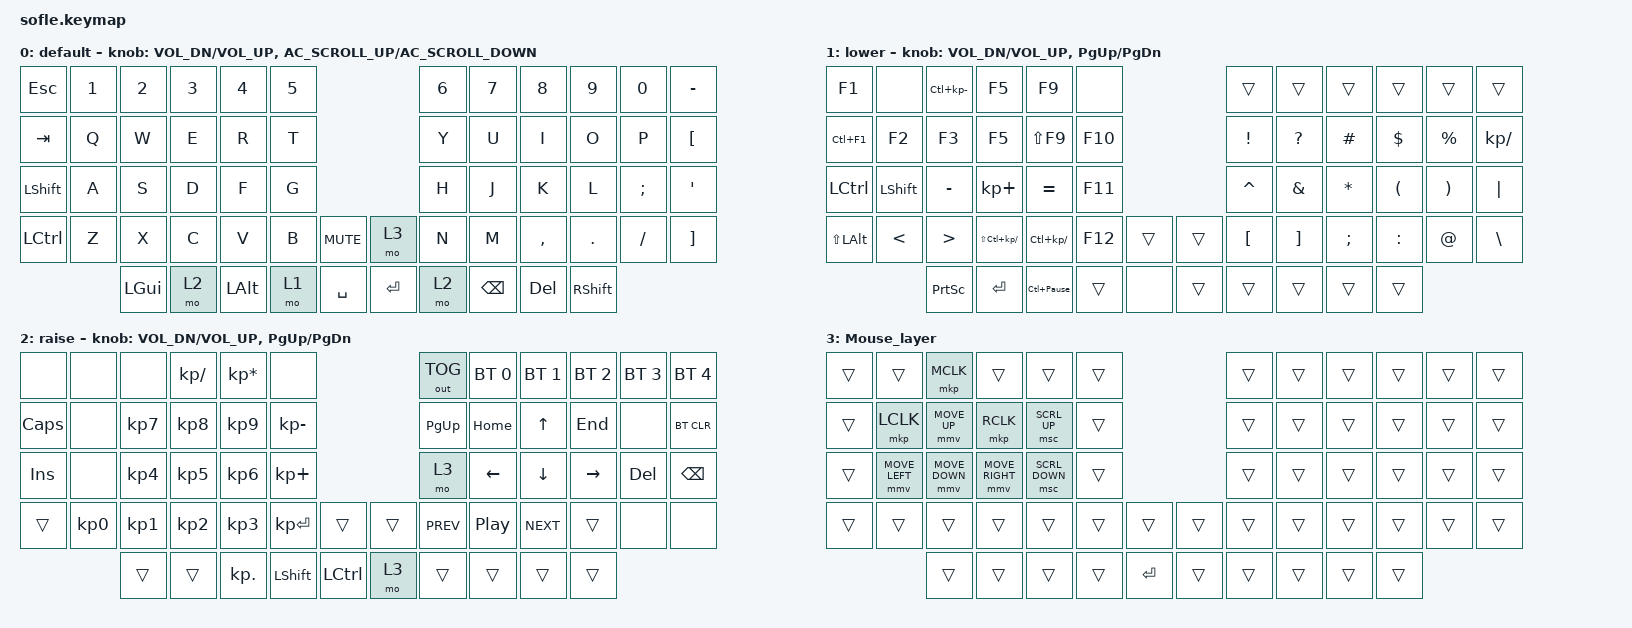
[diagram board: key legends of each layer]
/*
 * Copyright (c) 2020 The ZMK Contributors
 *
 * SPDX-License-Identifier: MIT
 */

#define BASE 0
#define LOWER 1
#define RAISE 2
#define ADJUST 3
#define ZMK_POINTING_DEFAULT_MOVE_VAL 700  // default: 600
#define ZMK_POINTING_DEFAULT_SCRL_VAL 20    // default: 10

#include <behaviors.dtsi>
#include <dt-bindings/zmk/bt.h>
#include <dt-bindings/zmk/keys.h>
#include <dt-bindings/zmk/outputs.h>
#include <dt-bindings/zmk/pointing.h>

/ {
    // Activate ADJUST layer by pressing raise and lower

    conditional_layers { compatible = "zmk,conditional-layers"; };

    combos { compatible = "zmk,combos"; };

    keymap {
        compatible = "zmk,keymap";

        default_layer {
            display-name = "default";

            // ------------------------------------------------------------------------------------------------------------
            // |   `   |  1  |  2  |  3   |  4   |  5   |                   |  6   |  7    |  8    |  9   |   0   |   =   |
            // |  ESC  |  Q  |  W  |  E   |  R   |  T   |                   |  Y   |  U    |  I    |  O   |   P   |   [   |
            // |  TAB  |  A  |  S  |  D   |  F   |  G   |                   |  H   |  J    |  K    |  L   |   ;   |   ]   |
            // | LCTRL |  Z  |  X  |  C   |  V   |  B   |  MUTE  |  |       |  N   |  M    |  ,    |  .   |   /   |   '   |
            //               | GUI | DEL  |LSHIFT| LOWER|  ENTER |  | SPACE | RAISE|BACKSPC| ALT   | GUI  |

            bindings = <
&kp ESCAPE  &kp N1  &kp N2    &kp N3  &kp N4        &kp N5                           &kp N6  &kp N7         &kp N8      &kp N9      &kp N0    &kp MINUS
&kp TAB     &kp Q   &kp W     &kp E   &kp R         &kp T                            &kp Y   &kp U          &kp I       &kp O       &kp P     &kp LEFT_BRACKET
&kp LSHFT   &kp A   &kp S     &kp D   &kp F         &kp G                            &kp H   &kp J          &kp K       &kp L       &kp SEMI  &kp SQT
&kp LCTRL   &kp Z   &kp X     &kp C   &kp V         &kp B   &kp C_MUTE    &mo 3      &kp N   &kp M          &kp COMMA   &kp DOT     &kp FSLH  &kp RBKT
                    &kp LGUI  &mo 2   &kp LEFT_ALT  &mo 1   &kp SPACE     &kp ENTER  &mo 2   &kp BACKSPACE  &kp DELETE  &kp RSHIFT
            >;

            sensor-bindings =
                <&inc_dec_kp C_VOL_DN C_VOLUME_UP>,
                <&inc_dec_kp C_AC_SCROLL_UP C_AC_SCROLL_DOWN>;
        };

        lower_layer {
            display-name = "lower";

            // TODO: Some binds are waiting for shifted keycode support.
            // ------------------------------------------------------------------------------------------------------------
            // |       |  F1 |  F2 |  F3  |  F4  |  F5  |                   |  F6  |  F7   |  F8   |  F9  |  F10  |  F11  |
            // |   `   |  1  |  2  |  3   |  4   |  5   |                   |  6   |  7    |  8    |  9   |   0   |  F12  |
            // |       |  !  |  @  |  #   |  $   |  %   |                   |  ^   |  &    |  *    |  (   |   )   |   |   |
            // |       |  =  |  -  |  +   |  {   |  }   |        |  |       |  [   |  ]    |  ;    |  :   |   \   |       |
            //               |     |      |      |      |        |  |       |      |       |       |      |

            bindings = <
&kp F1            &none          &kp LC(KP_MINUS)  &kp F5                 &kp F9               &none                      &trans           &trans     &trans     &trans      &trans       &trans
&kp LC(F1)        &kp F2         &kp F3            &kp F5                 &kp LS(F9)           &kp F10                    &kp EXCLAMATION  &kp QMARK  &kp HASH   &kp DOLLAR  &kp PERCENT  &kp KP_SLASH
&kp LCTRL         &kp LSHFT      &kp MINUS         &kp KP_PLUS            &kp EQUAL            &kp F11                    &kp CARET        &kp AMPS   &kp ASTRK  &kp LPAR    &kp RPAR     &kp PIPE
&kp LS(LEFT_ALT)  &kp LESS_THAN  &kp GREATER_THAN  &kp LS(LC(KP_DIVIDE))  &kp LC(KP_SLASH)     &kp F12  &trans    &trans  &kp LBKT         &kp RBKT   &kp SEMI   &kp COLON   &kp AT_SIGN  &kp BACKSLASH
                                 &kp PRINTSCREEN   &kp ENTER              &kp LC(PAUSE_BREAK)  &trans   &none     &trans  &trans           &trans     &trans     &trans
            >;

            sensor-bindings =
                <&inc_dec_kp C_VOL_DN C_VOL_UP>,
                <&inc_dec_kp PG_UP PG_DN>;
        };

        raise_layer {
            display-name = "raise";

            // ------------------------------------------------------------------------------------------------------------
            // | BTCLR | BT1  | BT2  |  BT3  |  BT4  |  BT5 |                |      |      |       |      |       |       |
            // |       | INS  | PSCR | GUI   |       |      |                | PGUP |      |   ^   |      |       |       |
            // |       | ALT  | CTRL | SHIFT |       | CAPS |                | PGDN |   <- |   v   |  ->  |  DEL  | BKSPC |
            // |       | UNDO | CUT  | COPY  | PASTE |      |      |  |      |      |      |       |      |       |       |
            //                |      |       |       |      |      |  |      |      |      |       |      |

            bindings = <
&none     &none            &none            &kp KP_DIVIDE    &kp KP_MULTIPLY  &none                              &out OUT_TOG  &bt BT_SEL 0      &bt BT_SEL 1  &bt BT_SEL 2  &bt BT_SEL 3  &bt BT_SEL 4
&kp CLCK  &none            &kp KP_NUMBER_7  &kp KP_NUMBER_8  &kp KP_NUMBER_9  &kp KP_MINUS                       &kp PG_UP     &kp HOME          &kp UP        &kp END       &none         &bt BT_CLR
&kp INS   &none            &kp KP_NUMBER_4  &kp KP_NUMBER_5  &kp KP_NUMBER_6  &kp KP_PLUS                        &mo 3         &kp LEFT          &kp DOWN      &kp RIGHT     &kp DEL       &kp BSPC
&trans    &kp KP_NUMBER_0  &kp KP_NUMBER_1  &kp KP_NUMBER_2  &kp KP_NUMBER_3  &kp KP_ENTER  &trans       &trans  &kp C_PREV    &kp C_PLAY_PAUSE  &kp C_NEXT    &trans        &none         &none
                           &trans           &trans           &kp KP_DOT       &kp LSHFT     &kp LCTRL    &mo 3   &trans        &trans            &trans        &trans
            >;

            sensor-bindings =
                <&inc_dec_kp C_VOL_DN C_VOL_UP>,
                <&inc_dec_kp PG_UP PG_DN>;
        };

        Mouse_layer {
            bindings = <
&trans  &trans          &mkp MCLK       &trans           &trans          &trans                       &trans  &trans  &trans  &trans  &trans  &trans
&trans  &mkp LCLK       &mmv MOVE_UP    &mkp RCLK        &msc SCRL_UP    &trans                       &trans  &trans  &trans  &trans  &trans  &trans
&trans  &mmv MOVE_LEFT  &mmv MOVE_DOWN  &mmv MOVE_RIGHT  &msc SCRL_DOWN  &trans                       &trans  &trans  &trans  &trans  &trans  &trans
&trans  &trans          &trans          &trans           &trans          &trans  &trans       &trans  &trans  &trans  &trans  &trans  &trans  &trans
                        &trans          &trans           &trans          &trans  &kp ENTER    &trans  &trans  &trans  &trans  &trans
            >;
        };
    };
};
